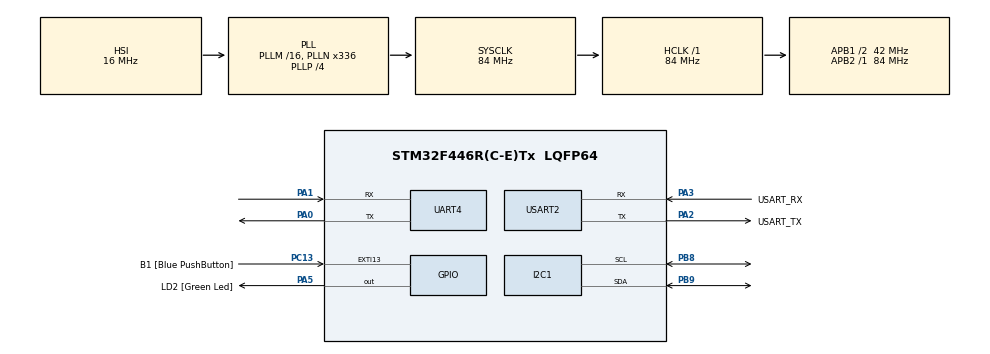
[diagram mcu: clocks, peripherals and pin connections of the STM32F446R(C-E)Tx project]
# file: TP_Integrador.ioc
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Mcu.Family=STM32F4
Mcu.Name=STM32F446R(C-E)Tx
Mcu.Package=LQFP64
NVIC.PriorityGroup=NVIC_PRIORITYGROUP_0
NVIC.UART4_IRQn=true\:0\:0\:false\:false\:true\:true\:true\:true
PA0-WKUP.Mode=Asynchronous
PA0-WKUP.Signal=UART4_TX
PA1.Mode=Asynchronous
PA1.Signal=UART4_RX
PA13.GPIO_Label=TMS
PA13.Mode=Serial_Wire
PA13.Signal=SYS_JTMS-SWDIO
PA14.GPIO_Label=TCK
PA14.Mode=Serial_Wire
PA14.Signal=SYS_JTCK-SWCLK
PA2.GPIO_Label=USART_TX
PA2.Mode=Asynchronous
PA2.Signal=USART2_TX
PA3.GPIO_Label=USART_RX
PA3.Mode=Asynchronous
PA3.Signal=USART2_RX
PA5.GPIO_Label=LD2 [Green Led]
PA5.Signal=GPIO_Output
PB3.GPIO_Label=SWO
PB3.Signal=SYS_JTDO-SWO
PB8.Mode=I2C
PB8.Signal=I2C1_SCL
PB9.Mode=I2C
PB9.Signal=I2C1_SDA
PC13.GPIO_Label=B1 [Blue PushButton]
PC13.GPIO_ModeDefaultEXTI=GPIO_MODE_IT_FALLING
PC13.Signal=GPXTI13
PC14-OSC32_IN.Mode=LSE-External-Oscillator
PC14-OSC32_IN.Signal=RCC_OSC32_IN
PC15-OSC32_OUT.Mode=LSE-External-Oscillator
PC15-OSC32_OUT.Signal=RCC_OSC32_OUT
PH0-OSC_IN.Mode=HSE-External-Oscillator
PH0-OSC_IN.Signal=RCC_OSC_IN
PH1-OSC_OUT.Mode=HSE-External-Oscillator
PH1-OSC_OUT.Signal=RCC_OSC_OUT
ProjectManager.HeapSize=0x200
ProjectManager.StackSize=0x400
ProjectManager.TargetToolchain=STM32CubeIDE
RCC.48MHZClocksFreq_Value=84000000
RCC.AHBFreq_Value=84000000
RCC.APB1CLKDivider=RCC_HCLK_DIV2
RCC.APB1Freq_Value=42000000
RCC.APB1TimFreq_Value=84000000
RCC.APB2Freq_Value=84000000
RCC.APB2TimFreq_Value=84000000
RCC.CortexFreq_Value=84000000
RCC.FLatency-AdvancedSettings=FLASH_LATENCY_2
RCC.HCLKFreq_Value=84000000
RCC.HSE_VALUE=8000000
RCC.HSI_VALUE=16000000
RCC.PLLN=336
RCC.PLLP=RCC_PLLP_DIV4
RCC.SYSCLKFreq_VALUE=84000000
RCC.SYSCLKSource=RCC_SYSCLKSOURCE_PLLCLK
RCC.USBFreq_Value=168000000
RCC.VCOOutputFreq_Value=336000000
UART4.VirtualMode=Asynchronous
USART2.VirtualMode=VM_ASYNC
board=NUCLEO-F446RE

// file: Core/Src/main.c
/* USER CODE BEGIN Header */
/**
  ******************************************************************************
  * @file           : main.c
  * @brief          : Main program body
  ******************************************************************************
  * @attention
  *
  * Copyright (c) 2025 STMicroelectronics.
  * All rights reserved.
  *qwerty
  * This software is licensed under terms that can be found in the LICENSE file
  * in the root directory of this software component.
  * If no LICENSE file comes with this software, it is provided AS-IS.
  *
  ******************************************************************************
  */
/* USER CODE END Header */
#include "main.h"

/* USER CODE BEGIN Includes */

#include "../../Drivers/API/Inc/TF-LC02.h"
#include "../../Drivers/API/Inc/API_delay.h"
#include "../../Drivers/API/Inc/API_debounce.h"
#include "../../Drivers/API/Inc/SSD1306.h"
#include "../../Drivers/API/Inc/SSD1306_Port.h"
/* USER CODE END Includes */

/* USER CODE BEGIN PTD */
typedef struct{
	uint16_t New;
	uint16_t Max;
	uint16_t Min;
	uint32_t Sampling;
	uint8_t Calib;
	uint8_t Port;
	uint8_t Firmware;
} display_t;
/* USER CODE END PTD */

I2C_HandleTypeDef hi2c1;

UART_HandleTypeDef huart4;
UART_HandleTypeDef huart2;

void SystemClock_Config(void);
static void MX_GPIO_Init(void);
static void MX_USART2_UART_Init(void);
static void MX_I2C1_Init(void);
static void MX_UART4_Init(void);

/* USER CODE BEGIN 0 */
extern bool TFLC02_Parse_Packet(void);
/* USER CODE END 0 */

int main(void)
{

  /* MCU Configuration--------------------------------------------------------*/

  /* Reset of all peripherals, Initializes the Flash interface and the Systick. */
  HAL_Init();

  /* USER CODE BEGIN Init */

  //Se definen los tiempos con lo que se puede tomar la medicion de distancia.
  const uint32_t TIEMPOS[] = {50, 250, 500, 1000};
  uint8_t cantTiempos = sizeof(TIEMPOS) / sizeof(TIEMPOS[0]);

  //Varible utilizada para recorrer el array de tiempos de muestreo.
  uint8_t indiceMesure = 0;

  //Timer utilizado para tomar las muestras de distancia
  delay_t delayMesure;

  //variable que contiene la informacion que se muestra en pantalla
  display_t display;

  //Se configuran las variables con valores inciales, para que en la primera medicion se cconfiguren automaticamente.
  display.Max=0;
  display.Min=0xFFFF;
  display.New=0;
  display.Sampling=0;
  display.Calib=0xFF;
  display.Firmware=0xFF;
  display.Port=0xFF;

  //Variable auxiliar para tener nocion de la frecuencia de muestreo
  bool ledState = false;

  /* USER CODE END Init */

  /* Configure the system clock */
  SystemClock_Config();

  /* Initialize all configured peripherals */
  MX_GPIO_Init();
  MX_USART2_UART_Init();
  MX_I2C1_Init();
  MX_UART4_Init();
  /* USER CODE BEGIN 2 */

  //Se inicializa el displey SSD1306
  SSD1306_Init();

  //Se limpia la pantalla
  SSD1306_Clear();

  //Se incializa el anti rebote del pulsador
  debounceFSM_init();

  //Se incializa el sensor de distancia TFLC02

//  TFLC02_Init();

  /* USER CODE END 2 */

  /* Infinite loop */
  /* USER CODE BEGIN WHILE */

  //Se incia la recepcion de señal del sensor
  TFLC02_Start();

  //Se inicializa el timer de muestreo de distancia
  delayInit(&delayMesure, TIEMPOS[indiceMesure]);

  //Se solicita informacion del sensor
  TFLC02_Info();

  //Delay minimo para esperar la respuesta del sensor
  HAL_Delay(1);

  //Se procesa la trama recibida si es que se recibio
  if(TFLC02_FramePresent()){
	TFLC02_Parse_Packet();
  }

  //Se solicita parametros por default del sensor
  TFLC02_DefaultSettings();

  HAL_Delay(1);

  if(TFLC02_FramePresent()){
	TFLC02_Parse_Packet();
  }

  //Se actualiza la informacion del sensor
  display.Calib = TFLC02_GetCalib();
  display.Firmware = TFLC02_GetFirm();
  display.Port = TFLC02_GetPort();

  //Se imprime la informacion inicial y etiquetas en display
  SSD1306_PrintSetup(display.Port,display.Calib);

  while (1)
  {
	//Se actualiza el estado del pulsador
	debounceFSM_update();

	//Se revisa el timer
	if(delayRead(&delayMesure)){
//		Se solicita la medicion de distancia
		TFLC02_Mesure();

		//Cambia el estado del led para mostrar al usuario la velocidad de muestreo
		ledState = !ledState;
		HAL_GPIO_WritePin(LD2_GPIO_Port, LD2_Pin, ledState ? GPIO_PIN_SET : GPIO_PIN_RESET);

	}

	//Se consulta si existe una trama para pocesar, de ser asi se procesa
	if(TFLC02_FramePresent()){
		TFLC02_Parse_Packet();
	}

	//Se consulta si existe nueva informacion del sensor
	if(TFLC02_RspComplete()){

		//Se obtiene la medicion obtenida
		display.New = TFLC02_GetDistance();

		//Se refresca las mediciones maximas y minimas
		if(display.New > display.Max && (display.New != 0)) display.Max = display.New;
		if((display.New < display.Min) && (display.New != 0)) display.Min = display.New;

		//Se imprimen las distancias
		SSD1306_PrintMesurement(display.New,display.Max,display.Min);

	}

//	Se consulta si el pulsador fue accionado, si es asi se cambia el valor de muestreo
	if(readPushed()){
		indiceMesure = (indiceMesure + 1) % cantTiempos;
		delayWrite(&delayMesure, TIEMPOS[indiceMesure]);
	}

	//Si la duracion del delay y la informacion de muestreo del display son difertentes se actualiza
	if(delayMesure.duration != display.Sampling){
		display.Sampling = delayMesure.duration;
		SSD1306_PrintMuestreo(display.Sampling);
	}

    /* USER CODE END WHILE */

  }
}

void SystemClock_Config(void)
{
  RCC_OscInitTypeDef RCC_OscInitStruct = {0};
  RCC_ClkInitTypeDef RCC_ClkInitStruct = {0};

  /** Configure the main internal regulator output voltage
  */
  __HAL_RCC_PWR_CLK_ENABLE();
  __HAL_PWR_VOLTAGESCALING_CONFIG(PWR_REGULATOR_VOLTAGE_SCALE3);

  /** Initializes the RCC Oscillators according to the specified parameters
  * in the RCC_OscInitTypeDef structure.
  */
  RCC_OscInitStruct.OscillatorType = RCC_OSCILLATORTYPE_HSI;
  RCC_OscInitStruct.HSIState = RCC_HSI_ON;
  RCC_OscInitStruct.HSICalibrationValue = RCC_HSICALIBRATION_DEFAULT;
  RCC_OscInitStruct.PLL.PLLState = RCC_PLL_ON;
  RCC_OscInitStruct.PLL.PLLSource = RCC_PLLSOURCE_HSI;
  RCC_OscInitStruct.PLL.PLLM = 16;
  RCC_OscInitStruct.PLL.PLLN = 336;
  RCC_OscInitStruct.PLL.PLLP = RCC_PLLP_DIV4;
  RCC_OscInitStruct.PLL.PLLQ = 2;
  RCC_OscInitStruct.PLL.PLLR = 2;
  if (HAL_RCC_OscConfig(&RCC_OscInitStruct) != HAL_OK)
  {
    Error_Handler();
  }

  /** Initializes the CPU, AHB and APB buses clocks
  */
  RCC_ClkInitStruct.ClockType = RCC_CLOCKTYPE_HCLK|RCC_CLOCKTYPE_SYSCLK
                              |RCC_CLOCKTYPE_PCLK1|RCC_CLOCKTYPE_PCLK2;
  RCC_ClkInitStruct.SYSCLKSource = RCC_SYSCLKSOURCE_PLLCLK;
  RCC_ClkInitStruct.AHBCLKDivider = RCC_SYSCLK_DIV1;
  RCC_ClkInitStruct.APB1CLKDivider = RCC_HCLK_DIV2;
  RCC_ClkInitStruct.APB2CLKDivider = RCC_HCLK_DIV1;

  if (HAL_RCC_ClockConfig(&RCC_ClkInitStruct, FLASH_LATENCY_2) != HAL_OK)
  {
    Error_Handler();
  }
}

static void MX_I2C1_Init(void)
{

  hi2c1.Instance = I2C1;
  hi2c1.Init.ClockSpeed = 100000;
  hi2c1.Init.DutyCycle = I2C_DUTYCYCLE_2;
  hi2c1.Init.OwnAddress1 = 0;
  hi2c1.Init.AddressingMode = I2C_ADDRESSINGMODE_7BIT;
  hi2c1.Init.DualAddressMode = I2C_DUALADDRESS_DISABLE;
  hi2c1.Init.OwnAddress2 = 0;
  hi2c1.Init.GeneralCallMode = I2C_GENERALCALL_DISABLE;
  hi2c1.Init.NoStretchMode = I2C_NOSTRETCH_DISABLE;
  if (HAL_I2C_Init(&hi2c1) != HAL_OK)
  {
    Error_Handler();
  }

}

static void MX_UART4_Init(void)
{

  huart4.Instance = UART4;
  huart4.Init.BaudRate = 115200;
  huart4.Init.WordLength = UART_WORDLENGTH_8B;
  huart4.Init.StopBits = UART_STOPBITS_1;
  huart4.Init.Parity = UART_PARITY_NONE;
  huart4.Init.Mode = UART_MODE_TX_RX;
  huart4.Init.HwFlowCtl = UART_HWCONTROL_NONE;
  huart4.Init.OverSampling = UART_OVERSAMPLING_16;
  if (HAL_UART_Init(&huart4) != HAL_OK)
  {
    Error_Handler();
  }

}

static void MX_USART2_UART_Init(void)
{

  huart2.Instance = USART2;
  huart2.Init.BaudRate = 115200;
  huart2.Init.WordLength = UART_WORDLENGTH_8B;
  huart2.Init.StopBits = UART_STOPBITS_1;
  huart2.Init.Parity = UART_PARITY_NONE;
  huart2.Init.Mode = UART_MODE_TX_RX;
  huart2.Init.HwFlowCtl = UART_HWCONTROL_NONE;
  huart2.Init.OverSampling = UART_OVERSAMPLING_16;
  if (HAL_UART_Init(&huart2) != HAL_OK)
  {
    Error_Handler();
  }

}

static void MX_GPIO_Init(void)
{
  GPIO_InitTypeDef GPIO_InitStruct = {0};

  /* GPIO Ports Clock Enable */
  __HAL_RCC_GPIOC_CLK_ENABLE();
  __HAL_RCC_GPIOH_CLK_ENABLE();
  __HAL_RCC_GPIOA_CLK_ENABLE();
  __HAL_RCC_GPIOB_CLK_ENABLE();

  /*Configure GPIO pin Output Level */
  HAL_GPIO_WritePin(LD2_GPIO_Port, LD2_Pin, GPIO_PIN_RESET);

  /*Configure GPIO pin : B1_Pin */
  GPIO_InitStruct.Pin = B1_Pin;
  GPIO_InitStruct.Mode = GPIO_MODE_IT_FALLING;
  GPIO_InitStruct.Pull = GPIO_NOPULL;
  HAL_GPIO_Init(B1_GPIO_Port, &GPIO_InitStruct);

  /*Configure GPIO pin : LD2_Pin */
  GPIO_InitStruct.Pin = LD2_Pin;
  GPIO_InitStruct.Mode = GPIO_MODE_OUTPUT_PP;
  GPIO_InitStruct.Pull = GPIO_NOPULL;
  GPIO_InitStruct.Speed = GPIO_SPEED_FREQ_LOW;
  HAL_GPIO_Init(LD2_GPIO_Port, &GPIO_InitStruct);

}

void Error_Handler(void)
{
  __disable_irq();
  while (1)
  {
  }
}
